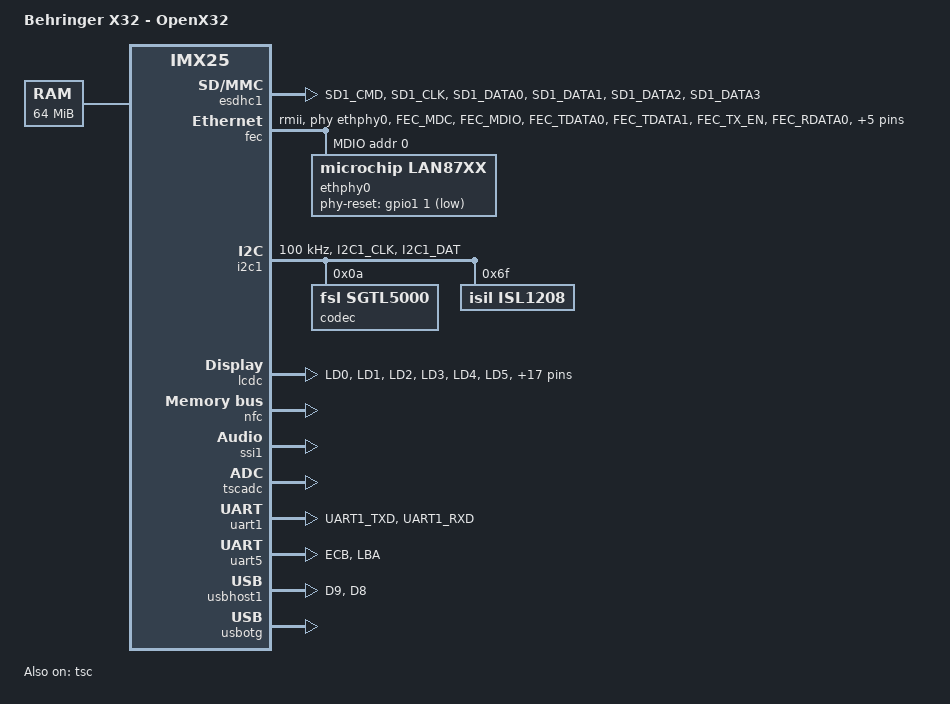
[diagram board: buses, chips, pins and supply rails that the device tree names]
// SPDX-License-Identifier: GPL-2.0+
//
// Copyright 2013 Freescale Semiconductor, Inc.

/dts-v1/;
#include <dt-bindings/gpio/gpio.h>
#include <dt-bindings/input/input.h>
#include "imx25.dtsi"

/ {
	model = "Behringer X32 - OpenX32";
	compatible = "fsl,imx25-pdk", "fsl,imx25";

	memory@80000000 {
		device_type = "memory";
		reg = <0x80000000 0x4000000>;
	};

	wvga: display {
		model = "Innolux-AT070TN";
		bits-per-pixel = <32>;
		bus-width = <18>;
		fsl,pcr = <0xFC228080>;
		display-timings {
			native-mode = <&wvga_timings>;
			wvga_timings: timing0 {
				hactive = <800>;
				hfront-porch = <210>;
				hback-porch = <45>;
				hsync-len = <1>;
				vactive = <480>;
				vfront-porch = <22>;
				vback-porch = <22>;
				vsync-len = <1>;
				clock-frequency = <40000000>;
				hsync-active = <0>; // asserted when LOW
				vsync-active = <0>; // asserted when LOW
				de-active = <1>; // asserted when HIGH
				pixelclk-active = <1>; // 1 = falling edge
			};
		};
	};
};

&esdhc1 {
	pinctrl-names = "default";
	pinctrl-0 = <&pinctrl_esdhc1>;
	status = "okay";
};

&fec {
	pinctrl-names = "default";
	pinctrl-0 = <&pinctrl_fec>;
	phy-mode = "rmii";
	phy-handle = <&ethphy0>;
//	local-mac-address = [02 00 00 00 00 01];
	status = "okay";

	mdio {
		#address-cells = <1>;
		#size-cells = <0>;

		ethphy0: ethernet-phy@0 {
			compatible = "microchip,lan87xx", "ethernet-phy-ieee802.3-c22";
			reg = <0>;
//			max-speed = <100>;
			phy-type = "microchip,lan87xx";
			phy-address = <0>;
			mdio_bus_num = <0>;
			phy-reset-gpios = <&gpio1 1 GPIO_ACTIVE_LOW>;
			phy-reset-duration = <5>;
		};
	};
};

&i2c1 {
	clock-frequency = <100000>;
	pinctrl-names = "default";
	pinctrl-0 = <&pinctrl_i2c1>;
	status = "okay";

	codec: sgtl5000@a {
		compatible = "fsl,sgtl5000";
		reg = <0x0a>;
		#sound-dai-cells = <0>;
		clocks = <&clks 129>;
	};

	isl1208: rtc@6f {
		compatible = "isil,isl1208";
		reg = <0x6f>;
	};
};

&iomuxc {
	imx25-pdk {
		pinctrl_esdhc1: esdhc1grp {
			fsl,pins = <
				MX25_PAD_SD1_CMD__ESDHC1_CMD		0x80000000
				MX25_PAD_SD1_CLK__ESDHC1_CLK		0x80000000
				MX25_PAD_SD1_DATA0__ESDHC1_DAT0		0x80000000
				MX25_PAD_SD1_DATA1__ESDHC1_DAT1		0x80000000
				MX25_PAD_SD1_DATA2__ESDHC1_DAT2		0x80000000
				MX25_PAD_SD1_DATA3__ESDHC1_DAT3		0x80000000
			>;
		};

		pinctrl_fec: fecgrp {
			fsl,pins = <
				MX25_PAD_FEC_MDC__FEC_MDC		0x00000060
				MX25_PAD_FEC_MDIO__FEC_MDIO		0x000001F0
				MX25_PAD_FEC_TDATA0__FEC_TDATA0		0x00000060
				MX25_PAD_FEC_TDATA1__FEC_TDATA1		0x00000060
				MX25_PAD_FEC_TX_EN__FEC_TX_EN		0x00000060
				MX25_PAD_FEC_RDATA0__FEC_RDATA0		0x000000C1
				MX25_PAD_FEC_RDATA1__FEC_RDATA1		0x000000C0
				MX25_PAD_FEC_RX_DV__FEC_RX_DV		0x000000C0
				MX25_PAD_FEC_TX_CLK__FEC_TX_CLK		0x000000C0
				MX25_PAD_UART2_CTS__FEC_RX_ERR		0x000000C0
				MX25_PAD_GPIO_B__GPIO_1_1		0x80000000
			>;
		};

		pinctrl_i2c1: i2c1grp {
			fsl,pins = <
				MX25_PAD_I2C1_CLK__I2C1_CLK		0x80000000
				MX25_PAD_I2C1_DAT__I2C1_DAT		0x80000000
			>;
		};

		pinctrl_lcd: lcdgrp {
			fsl,pins = <
				MX25_PAD_LD0__LD0		0xe0
				MX25_PAD_LD1__LD1		0xe0
				MX25_PAD_LD2__LD2		0xe0
				MX25_PAD_LD3__LD3		0xe0
				MX25_PAD_LD4__LD4		0xe0
				MX25_PAD_LD5__LD5		0xe0
				MX25_PAD_LD6__LD6		0xe0
				MX25_PAD_LD7__LD7		0xe0
				MX25_PAD_LD8__LD8		0xe0
				MX25_PAD_LD9__LD9		0xe0
				MX25_PAD_LD10__LD10		0xe0
				MX25_PAD_LD11__LD11		0xe0
				MX25_PAD_LD12__LD12		0xe0
				MX25_PAD_LD13__LD13		0xe0
				MX25_PAD_LD14__LD14		0xe0
				MX25_PAD_LD15__LD15		0xe0
				MX25_PAD_D15__LD16		0xe0
				MX25_PAD_D14__LD17		0xe0
				MX25_PAD_HSYNC__HSYNC		0xe0
				MX25_PAD_VSYNC__VSYNC		0xe0
				MX25_PAD_LSCLK__LSCLK		0xe0
				MX25_PAD_OE_ACD__OE_ACD		0xe0
				MX25_PAD_CONTRAST__CONTRAST	0xe0
			>;
		};

		pinctrl_uart1: uart1grp {
			fsl,pins = <
				MX25_PAD_UART1_TXD__UART1_TXD	0x80000000
				MX25_PAD_UART1_RXD__UART1_RXD	0xc0
			>;
		};

		pinctrl_uart5: uart5grp {
			fsl,pins = <
				MX25_PAD_ECB__UART5_TXD		0x80000000
				MX25_PAD_LBA__UART5_RXD		0xc0
			>;
		};

		pinctrl_usbh1_pwr: usbh1_pwr_pins {
			fsl,pins = <
				MX25_PAD_D9__GPIO_4_11 0x80000000
				MX25_PAD_D8__GPIO_4_12 0xc0
			>;
		};
	};
};

&lcdc {
	display = <&wvga>;
	fsl,lpccr = <0x00a903ff>;
	fsl,lscr1 = <0x00120300>;
	fsl,dmacr = <0x00020010>;
	pinctrl-names = "default";
	pinctrl-0 = <&pinctrl_lcd>;
	status = "okay";
};

&nfc {
	nand-on-flash-bbt;
	status = "okay";
};

&ssi1 {
	status = "okay";
};

&tsc {
	status = "okay";
};

&tscadc {
	status = "okay";
};

&uart1 {
	pinctrl-names = "default";
	pinctrl-0 = <&pinctrl_uart1>;
	status = "okay";
};

&uart5 {
	pinctrl-names = "default";
	pinctrl-0 = <&pinctrl_uart5>;
	status = "okay";
};


&usbhost1 {
	power-gpios = <&gpio4 11 GPIO_ACTIVE_HIGH>;
	over-current-gpios = <&gpio4 12 GPIO_ACTIVE_LOW>;
	pinctrl-names = "default";
	pinctrl-0 = <&pinctrl_usbh1_pwr>;
	status = "okay";
};

&usbotg {
	external-vbus-divider;
	status = "okay";
};
